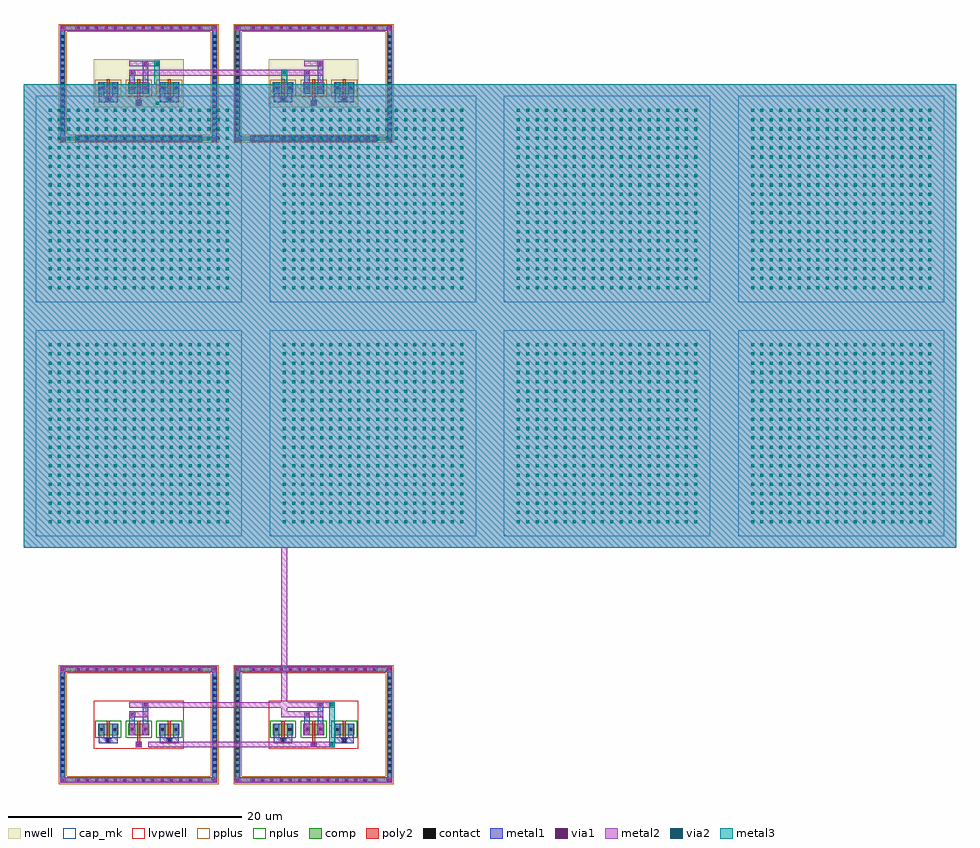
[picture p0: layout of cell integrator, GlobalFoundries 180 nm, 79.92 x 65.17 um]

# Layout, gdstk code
import gdstk
lib = gdstk.Library(unit=1e-6, precision=5e-09)
def R(c, l, rs):  # rectangles x0, y0, x1, y1
    for r in rs: c.add(gdstk.rectangle(r[:2], r[2:], *l))
def A(c, l, x, y, w, h, nx, ny, dx, dy):  # array of equal rectangles
    R(c, l, [(x+i*dx, y+j*dy, x+i*dx+w, y+j*dy+h) for i in range(nx) for j in range(ny)])
def P(c, l, *ps):  # polygons
    for p in ps: c.add(gdstk.Polygon(p, *l))
nwell = (21, 0)
comp = (22, 0)
poly2 = (30, 0)
pplus = (31, 0)
nplus = (32, 0)
contact = (33, 0)
metal1 = (34, 0)
via1 = (35, 0)
metal2 = (36, 0)
via2 = (38, 0)
metal3 = (42, 0)
cap_mk = (117, 5)
lvpwell = (204, 0)

unnamed_cfe38023 = lib.new_cell('Unnamed_cfe38023')
R(unnamed_cfe38023, nwell, [(-3.84,-2.065,3.84,2.065)])
A(unnamed_cfe38023, comp, -5.38, -4.925, 0.36, 0.36, 14, 2, 0.8, 9.49)
A(unnamed_cfe38023, comp, -6.7, -4.18, 0.36, 0.36, 1, 17, 0, 0.5)
A(unnamed_cfe38023, comp, 6.34, -4.18, 0.36, 0.36, 1, 17, 0, 0.5)
R(unnamed_cfe38023, comp, [(-5.38,-4.925,5.38,-4.565), (-6.7,-4.18,-6.34,4.18), (6.34,-4.18,6.7,4.18), (-3.49,-0.905,-1.75,0.095), (-0.89,-0.905,0.89,0.095), (1.75,-0.905,3.49,0.095), (-5.38,4.565,5.38,4.925)])
P(unnamed_cfe38023, comp, [(6.7,4.925),(-6.7,4.925),(-6.7,-4.565),(-6.34,-4.565),(-6.34,4.565),(6.34,4.565),(6.34,-4.565),(-6.34,-4.565),(-6.7,-4.565),(-6.7,-4.925),(6.7,-4.925)])
A(unnamed_cfe38023, poly2, -2.76, -1.145, 0.28, 1.48, 3, 1, 2.62, 0)
R(unnamed_cfe38023, poly2, [(-0.25,-1.945,0.25,-1.445), (-0.18,-1.875,0.18,-1.515), (-2.85,-1.605,-2.39,-1.145), (2.39,-1.605,2.85,-1.145), (-2.8,-1.555,-2.44,-1.195), (2.44,-1.555,2.8,-1.195), (-0.14,-1.445,0.14,-1.145)])
R(unnamed_cfe38023, pplus, [(-3.72,-1.135,-1.52,0.325), (-1.12,-1.135,1.12,0.325), (1.52,-1.135,3.72,0.325)])
P(unnamed_cfe38023, pplus, [(6.86,5.085),(-6.86,5.085),(-6.86,-4.405),(-6.18,-4.405),(-6.18,4.405),(6.18,4.405),(6.18,-4.405),(-6.18,-4.405),(-6.86,-4.405),(-6.86,-5.085),(6.86,-5.085)])
A(unnamed_cfe38023, contact, -5.31, -4.855, 0.22, 0.22, 14, 2, 0.8, 9.49)
A(unnamed_cfe38023, contact, -6.63, -4.11, 0.22, 0.22, 1, 17, 0, 0.5)
A(unnamed_cfe38023, contact, 6.41, -4.11, 0.22, 0.22, 1, 17, 0, 0.5)
R(unnamed_cfe38023, contact, [(-0.11,-1.805,0.11,-1.585), (-2.73,-1.485,-2.51,-1.265), (2.51,-1.485,2.73,-1.265), (-3.3,-0.515,-3.08,-0.295), (-2.16,-0.515,-1.94,-0.295), (-0.68,-0.515,-0.46,-0.295), (0.46,-0.515,0.68,-0.295), (1.94,-0.515,2.16,-0.295), (3.08,-0.515,3.3,-0.295)])
A(unnamed_cfe38023, metal1, -5.45, -4.995, 0.5, 0.5, 14, 2, 0.8, 9.49)
A(unnamed_cfe38023, metal1, -6.75, -4.23, 0.46, 0.46, 1, 17, 0, 0.5)
A(unnamed_cfe38023, metal1, 6.29, -4.23, 0.46, 0.46, 1, 17, 0, 0.5)
R(unnamed_cfe38023, metal1, [(-6.75,-4.995,-6.25,-4.495), (-6.75,-4.995,-6.25,-4.495), (-6.75,-4.995,-6.29,-4.565), (-5.45,-4.995,5.45,-4.495), (6.25,-4.995,6.75,-4.495), (6.25,-4.995,6.75,-4.495), (6.29,-4.995,6.75,-4.565), (-6.75,-4.565,-6.29,4.565), (6.29,-4.565,6.75,4.565), (-0.25,-1.945,0.25,-1.445), (-3.42,-1.605,-2.85,-1.145), (-3.42,-1.605,-2.96,-0.905), (-2.85,-1.605,-2.39,-1.145), (-2.39,-1.605,-1.82,-1.145), (-2.28,-1.605,-1.82,-0.905), (1.82,-1.605,2.39,-1.145), (1.82,-1.605,2.28,-0.905), (2.39,-1.605,2.85,-1.145), (2.85,-1.605,3.42,-1.145), (2.96,-1.605,3.42,-0.905), (-3.42,-0.905,-2.96,0.095), (-2.28,-0.905,-1.82,0.095), (-0.8,-0.905,-0.34,0.095), (0.34,-0.905,0.8,0.095), (1.82,-0.905,2.28,0.095), (2.96,-0.905,3.42,0.095), (-0.82,-0.655,-0.32,-0.155), (-0.82,-0.655,-0.32,-0.155), (0.32,-0.655,0.82,-0.155), (0.32,-0.655,0.82,-0.155), (-3.42,-0.635,-2.96,-0.175), (-2.28,-0.635,-1.82,-0.175), (-0.8,-0.635,-0.34,-0.175), (0.34,-0.635,0.8,-0.175), (1.82,-0.635,2.28,-0.175), (2.96,-0.635,3.42,-0.175), (-0.8,0.095,-0.34,1.145), (0.34,0.095,0.8,1.945), (-0.82,0.645,-0.32,1.145), (0.32,1.445,0.82,1.945), (-6.75,4.495,-6.25,4.995), (-6.75,4.495,-6.25,4.995), (-5.45,4.495,5.45,4.995), (6.25,4.495,6.75,4.995), (6.25,4.495,6.75,4.995), (-6.75,4.565,-6.29,4.995), (6.29,4.565,6.75,4.995)])
A(unnamed_cfe38023, via1, -5.33, -4.875, 0.26, 0.26, 14, 2, 0.8, 9.49)
R(unnamed_cfe38023, via1, [(-6.63,-4.875,-6.37,-4.615), (6.37,-4.875,6.63,-4.615), (-0.13,-1.825,0.13,-1.565), (-0.7,-0.535,-0.44,-0.275), (0.44,-0.535,0.7,-0.275), (-0.7,0.765,-0.44,1.025), (0.44,1.565,0.7,1.825), (-6.63,4.615,-6.37,4.875), (6.37,4.615,6.63,4.875)])
A(unnamed_cfe38023, metal2, -5.45, -4.995, 0.5, 0.5, 14, 2, 0.8, 9.49)
R(unnamed_cfe38023, metal2, [(-6.75,-4.995,-6.25,-4.495), (-6.75,-4.995,-6.25,-4.495), (-6.75,-4.995,-6.34,-4.495), (-6.34,-4.995,6.34,-4.495), (6.25,-4.995,6.75,-4.495), (6.25,-4.995,6.75,-4.495), (6.34,-4.995,6.75,-4.495), (-0.25,-1.945,0.25,-1.445), (-0.25,-1.945,0.25,-1.445), (-0.82,-0.905,-0.32,0.095), (0.32,-0.905,0.82,0.095), (-0.82,-0.655,-0.32,-0.155), (0.32,-0.655,0.82,-0.155), (-0.82,0.645,-0.32,1.145), (-0.82,0.645,0.82,1.145), (-0.82,1.445,0.82,1.945), (0.32,1.445,0.82,1.945), (-6.75,4.495,-6.25,4.995), (-6.75,4.495,-6.25,4.995), (-6.75,4.495,-6.34,4.995), (-6.34,4.495,6.34,4.995), (6.25,4.495,6.75,4.995), (6.25,4.495,6.75,4.995), (6.34,4.495,6.75,4.995)])

unnamed_6182d6fb = lib.new_cell('Unnamed_6182d6fb')
R(unnamed_6182d6fb, nwell, [(-3.84,-2.065,3.84,2.065)])
A(unnamed_6182d6fb, comp, -5.38, -4.925, 0.36, 0.36, 14, 2, 0.8, 9.49)
A(unnamed_6182d6fb, comp, -6.7, -4.18, 0.36, 0.36, 1, 17, 0, 0.5)
A(unnamed_6182d6fb, comp, 6.34, -4.18, 0.36, 0.36, 1, 17, 0, 0.5)
R(unnamed_6182d6fb, comp, [(-5.38,-4.925,5.38,-4.565), (-6.7,-4.18,-6.34,4.18), (6.34,-4.18,6.7,4.18), (-3.49,-0.905,-1.75,0.095), (-0.89,-0.905,0.89,0.095), (1.75,-0.905,3.49,0.095), (-5.38,4.565,5.38,4.925)])
P(unnamed_6182d6fb, comp, [(6.7,4.925),(-6.7,4.925),(-6.7,-4.565),(-6.34,-4.565),(-6.34,4.565),(6.34,4.565),(6.34,-4.565),(-6.34,-4.565),(-6.7,-4.565),(-6.7,-4.925),(6.7,-4.925)])
A(unnamed_6182d6fb, poly2, -2.76, -1.145, 0.28, 1.48, 3, 1, 2.62, 0)
R(unnamed_6182d6fb, poly2, [(-0.25,-1.945,0.25,-1.445), (-0.18,-1.875,0.18,-1.515), (-2.85,-1.605,-2.39,-1.145), (2.39,-1.605,2.85,-1.145), (-2.8,-1.555,-2.44,-1.195), (2.44,-1.555,2.8,-1.195), (-0.14,-1.445,0.14,-1.145)])
R(unnamed_6182d6fb, pplus, [(-3.72,-1.135,-1.52,0.325), (-1.12,-1.135,1.12,0.325), (1.52,-1.135,3.72,0.325)])
P(unnamed_6182d6fb, pplus, [(6.86,5.085),(-6.86,5.085),(-6.86,-4.405),(-6.18,-4.405),(-6.18,4.405),(6.18,4.405),(6.18,-4.405),(-6.18,-4.405),(-6.86,-4.405),(-6.86,-5.085),(6.86,-5.085)])
A(unnamed_6182d6fb, contact, -5.31, -4.855, 0.22, 0.22, 14, 2, 0.8, 9.49)
A(unnamed_6182d6fb, contact, -6.63, -4.11, 0.22, 0.22, 1, 17, 0, 0.5)
A(unnamed_6182d6fb, contact, 6.41, -4.11, 0.22, 0.22, 1, 17, 0, 0.5)
R(unnamed_6182d6fb, contact, [(-0.11,-1.805,0.11,-1.585), (-2.73,-1.485,-2.51,-1.265), (2.51,-1.485,2.73,-1.265), (-3.3,-0.515,-3.08,-0.295), (-2.16,-0.515,-1.94,-0.295), (-0.68,-0.515,-0.46,-0.295), (0.46,-0.515,0.68,-0.295), (1.94,-0.515,2.16,-0.295), (3.08,-0.515,3.3,-0.295)])
A(unnamed_6182d6fb, metal1, -5.45, -4.995, 0.5, 0.5, 14, 2, 0.8, 9.49)
A(unnamed_6182d6fb, metal1, -6.75, -4.23, 0.46, 0.46, 1, 17, 0, 0.5)
A(unnamed_6182d6fb, metal1, 6.29, -4.23, 0.46, 0.46, 1, 17, 0, 0.5)
R(unnamed_6182d6fb, metal1, [(-6.75,-4.995,-6.25,-4.495), (-6.75,-4.995,-6.25,-4.495), (-6.75,-4.995,-6.29,-4.565), (-5.45,-4.995,5.45,-4.495), (6.25,-4.995,6.75,-4.495), (6.25,-4.995,6.75,-4.495), (6.29,-4.995,6.75,-4.565), (-6.75,-4.565,-6.29,4.565), (6.29,-4.565,6.75,4.565), (-0.25,-1.945,0.25,-1.445), (-3.42,-1.605,-2.85,-1.145), (-3.42,-1.605,-2.96,-0.905), (-2.85,-1.605,-2.39,-1.145), (-2.39,-1.605,-1.82,-1.145), (-2.28,-1.605,-1.82,-0.905), (1.82,-1.605,2.39,-1.145), (1.82,-1.605,2.28,-0.905), (2.39,-1.605,2.85,-1.145), (2.85,-1.605,3.42,-1.145), (2.96,-1.605,3.42,-0.905), (-3.42,-0.905,-2.96,0.095), (-2.28,-0.905,-1.82,0.095), (-0.8,-0.905,-0.34,0.095), (0.34,-0.905,0.8,0.095), (1.82,-0.905,2.28,0.095), (2.96,-0.905,3.42,0.095), (-0.82,-0.655,-0.32,-0.155), (-0.82,-0.655,-0.32,-0.155), (0.32,-0.655,0.82,-0.155), (0.32,-0.655,0.82,-0.155), (-3.42,-0.635,-2.96,-0.175), (-2.28,-0.635,-1.82,-0.175), (-0.8,-0.635,-0.34,-0.175), (0.34,-0.635,0.8,-0.175), (1.82,-0.635,2.28,-0.175), (2.96,-0.635,3.42,-0.175), (-0.8,0.095,-0.34,1.145), (0.34,0.095,0.8,1.945), (-0.82,0.645,-0.32,1.145), (0.32,1.445,0.82,1.945), (-6.75,4.495,-6.25,4.995), (-6.75,4.495,-6.25,4.995), (-5.45,4.495,5.45,4.995), (6.25,4.495,6.75,4.995), (6.25,4.495,6.75,4.995), (-6.75,4.565,-6.29,4.995), (6.29,4.565,6.75,4.995)])
A(unnamed_6182d6fb, via1, -5.33, -4.875, 0.26, 0.26, 14, 2, 0.8, 9.49)
R(unnamed_6182d6fb, via1, [(-6.63,-4.875,-6.37,-4.615), (6.37,-4.875,6.63,-4.615), (-0.13,-1.825,0.13,-1.565), (-0.7,-0.535,-0.44,-0.275), (0.44,-0.535,0.7,-0.275), (-0.7,0.765,-0.44,1.025), (0.44,1.565,0.7,1.825), (-6.63,4.615,-6.37,4.875), (6.37,4.615,6.63,4.875)])
A(unnamed_6182d6fb, metal2, -5.45, -4.995, 0.5, 0.5, 14, 2, 0.8, 9.49)
R(unnamed_6182d6fb, metal2, [(-6.75,-4.995,-6.25,-4.495), (-6.75,-4.995,-6.25,-4.495), (-6.75,-4.995,-6.34,-4.495), (-6.34,-4.995,6.34,-4.495), (6.25,-4.995,6.75,-4.495), (6.25,-4.995,6.75,-4.495), (6.34,-4.995,6.75,-4.495), (-0.25,-1.945,0.25,-1.445), (-0.25,-1.945,0.25,-1.445), (-0.82,-0.905,-0.32,0.095), (0.32,-0.905,0.82,0.095), (-0.82,-0.655,-0.32,-0.155), (0.32,-0.655,0.82,-0.155), (-0.82,0.645,-0.32,1.145), (-0.82,0.645,0.82,1.145), (-0.82,1.445,0.82,1.945), (0.32,1.445,0.82,1.945), (-6.75,4.495,-6.25,4.995), (-6.75,4.495,-6.25,4.995), (-6.75,4.495,-6.34,4.995), (-6.34,4.495,6.34,4.995), (6.25,4.495,6.75,4.995), (6.25,4.495,6.75,4.995), (6.34,4.495,6.75,4.995)])

unnamed_5806d73b = lib.new_cell('Unnamed_5806d73b')
A(unnamed_5806d73b, comp, -5.38, -4.925, 0.36, 0.36, 14, 2, 0.8, 9.49)
A(unnamed_5806d73b, comp, -6.7, -4.18, 0.36, 0.36, 1, 17, 0, 0.5)
A(unnamed_5806d73b, comp, 6.34, -4.18, 0.36, 0.36, 1, 17, 0, 0.5)
R(unnamed_5806d73b, comp, [(-5.38,-4.925,5.38,-4.565), (-6.7,-4.18,-6.34,4.18), (6.34,-4.18,6.7,4.18), (-3.49,-0.905,-1.75,0.095), (-0.89,-0.905,0.89,0.095), (1.75,-0.905,3.49,0.095), (-5.38,4.565,5.38,4.925)])
P(unnamed_5806d73b, comp, [(6.7,4.925),(-6.7,4.925),(-6.7,-4.565),(-6.34,-4.565),(-6.34,4.565),(6.34,4.565),(6.34,-4.565),(-6.34,-4.565),(-6.7,-4.565),(-6.7,-4.925),(6.7,-4.925)])
A(unnamed_5806d73b, poly2, -2.76, -1.145, 0.28, 1.48, 3, 1, 2.62, 0)
R(unnamed_5806d73b, poly2, [(-0.25,-1.945,0.25,-1.445), (-0.18,-1.875,0.18,-1.515), (-2.85,-1.605,-2.39,-1.145), (2.39,-1.605,2.85,-1.145), (-2.8,-1.555,-2.44,-1.195), (2.44,-1.555,2.8,-1.195), (-0.14,-1.445,0.14,-1.145)])
P(unnamed_5806d73b, pplus, [(6.86,5.085),(-6.86,5.085),(-6.86,-4.405),(-6.18,-4.405),(-6.18,4.405),(6.18,4.405),(6.18,-4.405),(-6.18,-4.405),(-6.86,-4.405),(-6.86,-5.085),(6.86,-5.085)])
R(unnamed_5806d73b, nplus, [(-3.72,-1.135,-1.52,0.325), (-1.12,-1.135,1.12,0.325), (1.52,-1.135,3.72,0.325)])
A(unnamed_5806d73b, contact, -5.31, -4.855, 0.22, 0.22, 14, 2, 0.8, 9.49)
A(unnamed_5806d73b, contact, -6.63, -4.11, 0.22, 0.22, 1, 17, 0, 0.5)
A(unnamed_5806d73b, contact, 6.41, -4.11, 0.22, 0.22, 1, 17, 0, 0.5)
R(unnamed_5806d73b, contact, [(-0.11,-1.805,0.11,-1.585), (-2.73,-1.485,-2.51,-1.265), (2.51,-1.485,2.73,-1.265), (-3.3,-0.515,-3.08,-0.295), (-2.16,-0.515,-1.94,-0.295), (-0.68,-0.515,-0.46,-0.295), (0.46,-0.515,0.68,-0.295), (1.94,-0.515,2.16,-0.295), (3.08,-0.515,3.3,-0.295)])
A(unnamed_5806d73b, metal1, -5.45, -4.995, 0.5, 0.5, 14, 2, 0.8, 9.49)
A(unnamed_5806d73b, metal1, -6.75, -4.23, 0.46, 0.46, 1, 17, 0, 0.5)
A(unnamed_5806d73b, metal1, 6.29, -4.23, 0.46, 0.46, 1, 17, 0, 0.5)
R(unnamed_5806d73b, metal1, [(-6.75,-4.995,-6.25,-4.495), (-6.75,-4.995,-6.25,-4.495), (-6.75,-4.995,-6.29,-4.565), (-5.45,-4.995,5.45,-4.495), (6.25,-4.995,6.75,-4.495), (6.25,-4.995,6.75,-4.495), (6.29,-4.995,6.75,-4.565), (-6.75,-4.565,-6.29,4.565), (6.29,-4.565,6.75,4.565), (-0.25,-1.945,0.25,-1.445), (-3.42,-1.605,-2.85,-1.145), (-3.42,-1.605,-2.96,-0.905), (-2.85,-1.605,-2.39,-1.145), (-2.39,-1.605,-1.82,-1.145), (-2.28,-1.605,-1.82,-0.905), (1.82,-1.605,2.39,-1.145), (1.82,-1.605,2.28,-0.905), (2.39,-1.605,2.85,-1.145), (2.85,-1.605,3.42,-1.145), (2.96,-1.605,3.42,-0.905), (-3.42,-0.905,-2.96,0.095), (-2.28,-0.905,-1.82,0.095), (-0.8,-0.905,-0.34,0.095), (0.34,-0.905,0.8,0.095), (1.82,-0.905,2.28,0.095), (2.96,-0.905,3.42,0.095), (-0.82,-0.655,-0.32,-0.155), (-0.82,-0.655,-0.32,-0.155), (0.32,-0.655,0.82,-0.155), (0.32,-0.655,0.82,-0.155), (-3.42,-0.635,-2.96,-0.175), (-2.28,-0.635,-1.82,-0.175), (-0.8,-0.635,-0.34,-0.175), (0.34,-0.635,0.8,-0.175), (1.82,-0.635,2.28,-0.175), (2.96,-0.635,3.42,-0.175), (-0.8,0.095,-0.34,1.145), (0.34,0.095,0.8,1.945), (-0.82,0.645,-0.32,1.145), (0.32,1.445,0.82,1.945), (-6.75,4.495,-6.25,4.995), (-6.75,4.495,-6.25,4.995), (-5.45,4.495,5.45,4.995), (6.25,4.495,6.75,4.995), (6.25,4.495,6.75,4.995), (-6.75,4.565,-6.29,4.995), (6.29,4.565,6.75,4.995)])
A(unnamed_5806d73b, via1, -5.33, -4.875, 0.26, 0.26, 14, 2, 0.8, 9.49)
R(unnamed_5806d73b, via1, [(-6.63,-4.875,-6.37,-4.615), (6.37,-4.875,6.63,-4.615), (-0.13,-1.825,0.13,-1.565), (-0.7,-0.535,-0.44,-0.275), (0.44,-0.535,0.7,-0.275), (-0.7,0.765,-0.44,1.025), (0.44,1.565,0.7,1.825), (-6.63,4.615,-6.37,4.875), (6.37,4.615,6.63,4.875)])
A(unnamed_5806d73b, metal2, -5.45, -4.995, 0.5, 0.5, 14, 2, 0.8, 9.49)
R(unnamed_5806d73b, metal2, [(-6.75,-4.995,-6.25,-4.495), (-6.75,-4.995,-6.25,-4.495), (-6.75,-4.995,-6.34,-4.495), (-6.34,-4.995,6.34,-4.495), (6.25,-4.995,6.75,-4.495), (6.25,-4.995,6.75,-4.495), (6.34,-4.995,6.75,-4.495), (-0.25,-1.945,0.25,-1.445), (-0.25,-1.945,0.25,-1.445), (-0.82,-0.905,-0.32,0.095), (0.32,-0.905,0.82,0.095), (-0.82,-0.655,-0.32,-0.155), (0.32,-0.655,0.82,-0.155), (-0.82,0.645,-0.32,1.145), (-0.82,0.645,0.82,1.145), (-0.82,1.445,0.82,1.945), (0.32,1.445,0.82,1.945), (-6.75,4.495,-6.25,4.995), (-6.75,4.495,-6.25,4.995), (-6.75,4.495,-6.34,4.995), (-6.34,4.495,6.34,4.995), (6.25,4.495,6.75,4.995), (6.25,4.495,6.75,4.995), (6.34,4.495,6.75,4.995)])
R(unnamed_5806d73b, lvpwell, [(-3.84,-2.065,3.84,2.065)])

unnamed_1fd33170 = lib.new_cell('Unnamed_1fd33170')
A(unnamed_1fd33170, comp, -5.38, -4.925, 0.36, 0.36, 14, 2, 0.8, 9.49)
A(unnamed_1fd33170, comp, -6.7, -4.18, 0.36, 0.36, 1, 17, 0, 0.5)
A(unnamed_1fd33170, comp, 6.34, -4.18, 0.36, 0.36, 1, 17, 0, 0.5)
R(unnamed_1fd33170, comp, [(-5.38,-4.925,5.38,-4.565), (-6.7,-4.18,-6.34,4.18), (6.34,-4.18,6.7,4.18), (-3.49,-0.905,-1.75,0.095), (-0.89,-0.905,0.89,0.095), (1.75,-0.905,3.49,0.095), (-5.38,4.565,5.38,4.925)])
P(unnamed_1fd33170, comp, [(6.7,4.925),(-6.7,4.925),(-6.7,-4.565),(-6.34,-4.565),(-6.34,4.565),(6.34,4.565),(6.34,-4.565),(-6.34,-4.565),(-6.7,-4.565),(-6.7,-4.925),(6.7,-4.925)])
A(unnamed_1fd33170, poly2, -2.76, -1.145, 0.28, 1.48, 3, 1, 2.62, 0)
R(unnamed_1fd33170, poly2, [(-0.25,-1.945,0.25,-1.445), (-0.18,-1.875,0.18,-1.515), (-2.85,-1.605,-2.39,-1.145), (2.39,-1.605,2.85,-1.145), (-2.8,-1.555,-2.44,-1.195), (2.44,-1.555,2.8,-1.195), (-0.14,-1.445,0.14,-1.145)])
P(unnamed_1fd33170, pplus, [(6.86,5.085),(-6.86,5.085),(-6.86,-4.405),(-6.18,-4.405),(-6.18,4.405),(6.18,4.405),(6.18,-4.405),(-6.18,-4.405),(-6.86,-4.405),(-6.86,-5.085),(6.86,-5.085)])
R(unnamed_1fd33170, nplus, [(-3.72,-1.135,-1.52,0.325), (-1.12,-1.135,1.12,0.325), (1.52,-1.135,3.72,0.325)])
A(unnamed_1fd33170, contact, -5.31, -4.855, 0.22, 0.22, 14, 2, 0.8, 9.49)
A(unnamed_1fd33170, contact, -6.63, -4.11, 0.22, 0.22, 1, 17, 0, 0.5)
A(unnamed_1fd33170, contact, 6.41, -4.11, 0.22, 0.22, 1, 17, 0, 0.5)
R(unnamed_1fd33170, contact, [(-0.11,-1.805,0.11,-1.585), (-2.73,-1.485,-2.51,-1.265), (2.51,-1.485,2.73,-1.265), (-3.3,-0.515,-3.08,-0.295), (-2.16,-0.515,-1.94,-0.295), (-0.68,-0.515,-0.46,-0.295), (0.46,-0.515,0.68,-0.295), (1.94,-0.515,2.16,-0.295), (3.08,-0.515,3.3,-0.295)])
A(unnamed_1fd33170, metal1, -5.45, -4.995, 0.5, 0.5, 14, 2, 0.8, 9.49)
A(unnamed_1fd33170, metal1, -6.75, -4.23, 0.46, 0.46, 1, 17, 0, 0.5)
A(unnamed_1fd33170, metal1, 6.29, -4.23, 0.46, 0.46, 1, 17, 0, 0.5)
R(unnamed_1fd33170, metal1, [(-6.75,-4.995,-6.25,-4.495), (-6.75,-4.995,-6.25,-4.495), (-6.75,-4.995,-6.29,-4.565), (-5.45,-4.995,5.45,-4.495), (6.25,-4.995,6.75,-4.495), (6.25,-4.995,6.75,-4.495), (6.29,-4.995,6.75,-4.565), (-6.75,-4.565,-6.29,4.565), (6.29,-4.565,6.75,4.565), (-0.25,-1.945,0.25,-1.445), (-3.42,-1.605,-2.85,-1.145), (-3.42,-1.605,-2.96,-0.905), (-2.85,-1.605,-2.39,-1.145), (-2.39,-1.605,-1.82,-1.145), (-2.28,-1.605,-1.82,-0.905), (1.82,-1.605,2.39,-1.145), (1.82,-1.605,2.28,-0.905), (2.39,-1.605,2.85,-1.145), (2.85,-1.605,3.42,-1.145), (2.96,-1.605,3.42,-0.905), (-3.42,-0.905,-2.96,0.095), (-2.28,-0.905,-1.82,0.095), (-0.8,-0.905,-0.34,0.095), (0.34,-0.905,0.8,0.095), (1.82,-0.905,2.28,0.095), (2.96,-0.905,3.42,0.095), (-0.82,-0.655,-0.32,-0.155), (-0.82,-0.655,-0.32,-0.155), (0.32,-0.655,0.82,-0.155), (0.32,-0.655,0.82,-0.155), (-3.42,-0.635,-2.96,-0.175), (-2.28,-0.635,-1.82,-0.175), (-0.8,-0.635,-0.34,-0.175), (0.34,-0.635,0.8,-0.175), (1.82,-0.635,2.28,-0.175), (2.96,-0.635,3.42,-0.175), (-0.8,0.095,-0.34,1.145), (0.34,0.095,0.8,1.945), (-0.82,0.645,-0.32,1.145), (0.32,1.445,0.82,1.945), (-6.75,4.495,-6.25,4.995), (-6.75,4.495,-6.25,4.995), (-5.45,4.495,5.45,4.995), (6.25,4.495,6.75,4.995), (6.25,4.495,6.75,4.995), (-6.75,4.565,-6.29,4.995), (6.29,4.565,6.75,4.995)])
A(unnamed_1fd33170, via1, -5.33, -4.875, 0.26, 0.26, 14, 2, 0.8, 9.49)
R(unnamed_1fd33170, via1, [(-6.63,-4.875,-6.37,-4.615), (6.37,-4.875,6.63,-4.615), (-0.13,-1.825,0.13,-1.565), (-0.7,-0.535,-0.44,-0.275), (0.44,-0.535,0.7,-0.275), (-0.7,0.765,-0.44,1.025), (0.44,1.565,0.7,1.825), (-6.63,4.615,-6.37,4.875), (6.37,4.615,6.63,4.875)])
A(unnamed_1fd33170, metal2, -5.45, -4.995, 0.5, 0.5, 14, 2, 0.8, 9.49)
R(unnamed_1fd33170, metal2, [(-6.75,-4.995,-6.25,-4.495), (-6.75,-4.995,-6.25,-4.495), (-6.75,-4.995,-6.34,-4.495), (-6.34,-4.995,6.34,-4.495), (6.25,-4.995,6.75,-4.495), (6.25,-4.995,6.75,-4.495), (6.34,-4.995,6.75,-4.495), (-0.25,-1.945,0.25,-1.445), (-0.25,-1.945,0.25,-1.445), (-0.82,-0.905,-0.32,0.095), (0.32,-0.905,0.82,0.095), (-0.82,-0.655,-0.32,-0.155), (0.32,-0.655,0.82,-0.155), (-0.82,0.645,-0.32,1.145), (-0.82,0.645,0.82,1.145), (-0.82,1.445,0.82,1.945), (0.32,1.445,0.82,1.945), (-6.75,4.495,-6.25,4.995), (-6.75,4.495,-6.25,4.995), (-6.75,4.495,-6.34,4.995), (-6.34,4.495,6.34,4.995), (6.25,4.495,6.75,4.995), (6.25,4.495,6.75,4.995), (6.34,4.495,6.75,4.995)])
R(unnamed_1fd33170, lvpwell, [(-3.84,-2.065,3.84,2.065)])

unnamed_2405319f = lib.new_cell('Unnamed_2405319f')
A(unnamed_2405319f, metal2, -9.44, -9.44, 18.88, 18.88, 4, 2, 20.08, 20.08)
A(unnamed_2405319f, metal2, 9.44, -0.14, 1.2, 0.28, 3, 2, 20.08, 20.08)
A(unnamed_2405319f, metal2, -0.14, 9.44, 0.28, 1.2, 4, 1, 20.08, 0)
R(unnamed_2405319f, metal2, [(-9.84,-9.84,70.08,29.92)])
A(unnamed_2405319f, via2, -7.73, -7.73, 0.26, 0.26, 20, 20, 0.8, 0.8)
A(unnamed_2405319f, via2, 12.35, -7.73, 0.26, 0.26, 20, 20, 0.8, 0.8)
A(unnamed_2405319f, via2, 32.43, -7.73, 0.26, 0.26, 20, 20, 0.8, 0.8)
A(unnamed_2405319f, via2, 52.51, -7.73, 0.26, 0.26, 20, 20, 0.8, 0.8)
A(unnamed_2405319f, via2, -7.73, 12.35, 0.26, 0.26, 20, 20, 0.8, 0.8)
A(unnamed_2405319f, via2, 12.35, 12.35, 0.26, 0.26, 20, 20, 0.8, 0.8)
A(unnamed_2405319f, via2, 32.43, 12.35, 0.26, 0.26, 20, 20, 0.8, 0.8)
A(unnamed_2405319f, via2, 52.51, 12.35, 0.26, 0.26, 20, 20, 0.8, 0.8)
A(unnamed_2405319f, metal3, -8.84, -8.84, 17.68, 17.68, 4, 2, 20.08, 20.08)
A(unnamed_2405319f, metal3, -7.85, -7.85, 0.5, 0.5, 20, 20, 0.8, 0.8)
A(unnamed_2405319f, metal3, 12.23, -7.85, 0.5, 0.5, 20, 20, 0.8, 0.8)
A(unnamed_2405319f, metal3, 32.31, -7.85, 0.5, 0.5, 20, 20, 0.8, 0.8)
A(unnamed_2405319f, metal3, 52.39, -7.85, 0.5, 0.5, 20, 20, 0.8, 0.8)
A(unnamed_2405319f, metal3, 8.84, -0.14, 2.4, 0.28, 3, 2, 20.08, 20.08)
A(unnamed_2405319f, metal3, -0.14, 8.84, 0.28, 2.4, 4, 1, 20.08, 0)
A(unnamed_2405319f, metal3, -7.85, 12.23, 0.5, 0.5, 20, 20, 0.8, 0.8)
A(unnamed_2405319f, metal3, 12.23, 12.23, 0.5, 0.5, 20, 20, 0.8, 0.8)
A(unnamed_2405319f, metal3, 32.31, 12.23, 0.5, 0.5, 20, 20, 0.8, 0.8)
A(unnamed_2405319f, metal3, 52.39, 12.23, 0.5, 0.5, 20, 20, 0.8, 0.8)
R(unnamed_2405319f, metal3, [(-9.84,-9.84,70.08,29.92)])
A(unnamed_2405319f, cap_mk, -8.84, -8.84, 17.68, 17.68, 4, 2, 20.08, 20.08)

integrator = lib.new_cell('integrator')
R(integrator, metal2, [(0.82,-26.945,14.75,-26.445), (15.25,-26.945,16.82,-26.445), (16.32,-26.945,16.82,-26.445), (12.23,-24.355,15.82,-23.855), (12.23,-24.355,12.73,-6.25), (0.82,-23.555,14.18,-23.055), (15.82,-23.555,16.82,-23.055), (16.32,-23.555,16.82,-23.055), (0.25,28.055,1.82,28.555), (1.32,28.055,1.82,28.555), (-0.82,30.645,12.73,31.145), (0.82,30.645,14.18,31.145), (12.23,30.645,12.73,31.145), (12.23,30.645,12.73,31.145), (0.82,31.445,1.82,31.945), (1.32,31.445,1.82,31.945)])
P(integrator, metal2, [(-0.25,28.055),(-0.25,28.055),(-0.25,28.555),(-0.25,28.555)])
R(integrator, via2, [(16.44,-26.825,16.7,-26.565), (16.44,-23.435,16.7,-23.175), (1.44,28.175,1.7,28.435), (12.35,30.765,12.61,31.025), (1.44,31.565,1.7,31.825)])
R(integrator, metal3, [(16.32,-26.945,16.82,-26.445), (16.32,-26.945,16.82,-26.445), (16.32,-26.945,16.82,-23.055), (16.32,-23.555,16.82,-23.055), (16.32,-23.555,16.82,-23.055), (12.23,-5.75,12.73,31.145), (1.32,28.055,1.82,28.555), (1.32,28.055,1.82,28.555), (1.32,28.055,1.82,31.945), (12.23,30.645,12.73,31.145), (12.23,30.645,12.73,31.145), (1.32,31.445,1.82,31.945), (1.32,31.445,1.82,31.945)])
P(integrator, metal3, [(1.82,28.055),(1.82,28.055),(1.82,28.555),(1.82,28.555)],
  [(1.82,31.445),(1.82,31.445),(1.82,31.945),(1.82,31.945)],
  [(16.82,-26.945),(16.82,-26.945),(16.82,-26.445),(16.82,-26.445)],
  [(16.82,-23.555),(16.82,-23.555),(16.82,-23.055),(16.82,-23.055)])
integrator.add(gdstk.Reference(unnamed_cfe38023, (0,30)))
integrator.add(gdstk.Reference(unnamed_6182d6fb, (15,30)))
integrator.add(gdstk.Reference(unnamed_5806d73b, (0,-25)))
integrator.add(gdstk.Reference(unnamed_1fd33170, (15,-25)))
integrator.add(gdstk.Reference(unnamed_2405319f, (0,0)))

lib.write_gds('integrator.gds')
